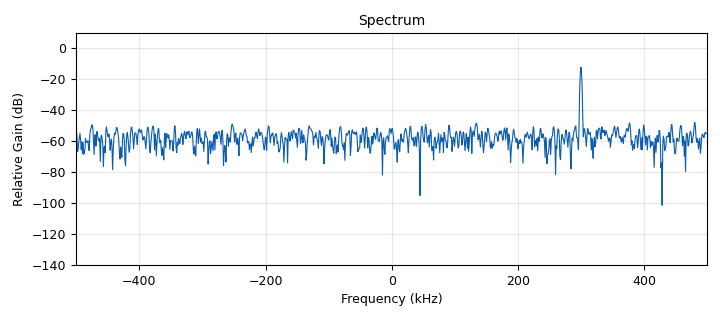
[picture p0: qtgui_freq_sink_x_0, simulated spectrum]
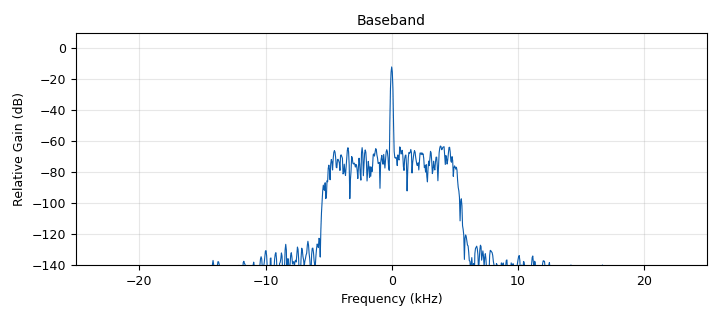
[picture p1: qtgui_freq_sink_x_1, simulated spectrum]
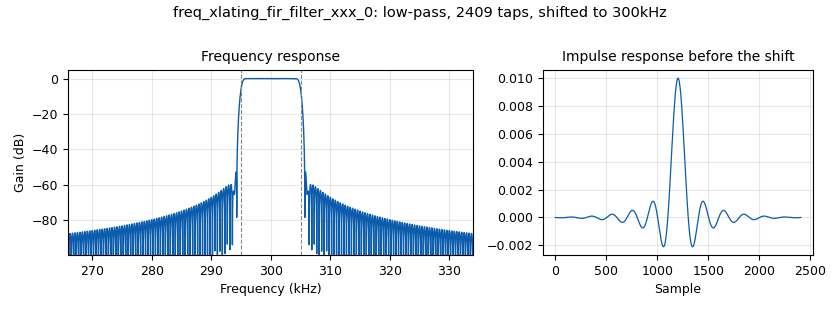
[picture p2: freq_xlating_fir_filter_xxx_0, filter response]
<?xml version='1.0' encoding='utf-8'?>
<?grc format='1' created='3.7.11'?>
<flow_graph>
<block>
<key>options</key>
<param><key>id</key><value>freq_xlate_fir</value></param>
<param><key>author</key><value>Ettus Research</value></param>
<param><key>category</key><value>Custom</value></param>
<param><key>description</key><value>Example usage of Freq Xlating FIR Filter</value></param>
<param><key>generate_options</key><value>qt_gui</value></param>
<param><key>title</key><value>Frequency Xlating FIR Example</value></param>
</block>
<block>
<key>variable</key>
<param><key>id</key><value>bb_rate</value></param>
<param><key>value</key><value>50e3</value></param>
</block>
<block>
<key>variable</key>
<param><key>id</key><value>decimation</value></param>
<param><key>value</key><value>int(samp_rate / bb_rate)</value></param>
</block>
<block>
<key>variable_qtgui_range</key>
<param><key>id</key><value>noise_amp</value></param>
<param><key>value</key><value>.1</value></param>
<param><key>gui_hint</key><value>0, 2, 1, 2</value></param>
<param><key>label</key><value>Noise</value></param>
<param><key>orient</key><value>Qt.Horizontal</value></param>
<param><key>start</key><value>0</value></param>
<param><key>step</key><value>.1</value></param>
<param><key>stop</key><value>1</value></param>
</block>
<block>
<key>variable</key>
<param><key>id</key><value>samp_rate</value></param>
<param><key>value</key><value>1e6</value></param>
</block>
<block>
<key>variable_qtgui_range</key>
<param><key>id</key><value>sine_freq</value></param>
<param><key>value</key><value>300e3</value></param>
<param><key>gui_hint</key><value>0, 0, 1, 2</value></param>
<param><key>label</key><value>Sine Frequency</value></param>
<param><key>orient</key><value>Qt.Horizontal</value></param>
<param><key>start</key><value>0</value></param>
<param><key>step</key><value>1e3</value></param>
<param><key>stop</key><value>1e6</value></param>
</block>
<block>
<key>variable</key>
<param><key>id</key><value>taps</value></param>
<param><key>value</key><value>firdes.low_pass(1.0, samp_rate, xlate_bw/2, 1000)</value></param>
</block>
<block>
<key>variable_qtgui_range</key>
<param><key>id</key><value>xlate_bw</value></param>
<param><key>value</key><value>10e3</value></param>
<param><key>gui_hint</key><value>1, 2, 1, 2</value></param>
<param><key>label</key><value>Xlate Bandwidth</value></param>
<param><key>orient</key><value>Qt.Horizontal</value></param>
<param><key>start</key><value>0</value></param>
<param><key>step</key><value>1</value></param>
<param><key>stop</key><value>50e3</value></param>
</block>
<block>
<key>variable_qtgui_range</key>
<param><key>id</key><value>xlate_freq</value></param>
<param><key>value</key><value>300e3</value></param>
<param><key>gui_hint</key><value>1, 0, 1, 2</value></param>
<param><key>label</key><value>Xlate Frequency</value></param>
<param><key>orient</key><value>Qt.Horizontal</value></param>
<param><key>start</key><value>-samp_rate/2</value></param>
<param><key>step</key><value>1</value></param>
<param><key>stop</key><value>samp_rate/2</value></param>
</block>
<block>
<key>analog_noise_source_x</key>
<param><key>id</key><value>analog_noise_source_x_0</value></param>
<param><key>amp</key><value>noise_amp</value></param>
<param><key>noise_type</key><value>analog.GR_GAUSSIAN</value></param>
<param><key>type</key><value>complex</value></param>
<param><key>seed</key><value>0</value></param>
</block>
<block>
<key>analog_sig_source_x</key>
<param><key>id</key><value>analog_sig_source_x_0</value></param>
<param><key>amp</key><value>.7</value></param>
<param><key>freq</key><value>sine_freq</value></param>
<param><key>offset</key><value>0</value></param>
<param><key>type</key><value>complex</value></param>
<param><key>samp_rate</key><value>samp_rate</value></param>
<param><key>waveform</key><value>analog.GR_COS_WAVE</value></param>
</block>
<block>
<key>blocks_add_xx</key>
<param><key>id</key><value>blocks_add_xx_0</value></param>
<param><key>type</key><value>complex</value></param>
</block>
<block>
<key>blocks_throttle</key>
<param><key>id</key><value>blocks_throttle_0</value></param>
<param><key>samples_per_second</key><value>samp_rate</value></param>
<param><key>type</key><value>complex</value></param>
</block>
<block>
<key>freq_xlating_fir_filter_xxx</key>
<param><key>id</key><value>freq_xlating_fir_filter_xxx_0</value></param>
<param><key>center_freq</key><value>xlate_freq</value></param>
<param><key>decim</key><value>decimation</value></param>
<param><key>samp_rate</key><value>samp_rate</value></param>
<param><key>taps</key><value>taps</value></param>
<param><key>type</key><value>ccc</value></param>
</block>
<block>
<key>qtgui_freq_sink_x</key>
<param><key>id</key><value>qtgui_freq_sink_x_0</value></param>
<param><key>bw</key><value>samp_rate</value></param>
<param><key>fc</key><value>0</value></param>
<param><key>fftsize</key><value>1024</value></param>
<param><key>gui_hint</key><value>2, 0, 1,4</value></param>
<param><key>name</key><value>"Spectrum"</value></param>
<param><key>showports</key><value>True</value></param>
<param><key>type</key><value>complex</value></param>
<param><key>wintype</key><value>firdes.WIN_BLACKMAN_hARRIS</value></param>
</block>
<block>
<key>qtgui_freq_sink_x</key>
<param><key>id</key><value>qtgui_freq_sink_x_1</value></param>
<param><key>bw</key><value>bb_rate</value></param>
<param><key>fc</key><value>0</value></param>
<param><key>fftsize</key><value>1024</value></param>
<param><key>gui_hint</key><value>3, 0, 1, 4</value></param>
<param><key>name</key><value>"Baseband"</value></param>
<param><key>showports</key><value>True</value></param>
<param><key>type</key><value>complex</value></param>
<param><key>wintype</key><value>firdes.WIN_BLACKMAN_hARRIS</value></param>
</block>
<connection><source_block_id>analog_noise_source_x_0</source_block_id><sink_block_id>blocks_add_xx_0</sink_block_id><source_key>0</source_key><sink_key>1</sink_key></connection>
<connection><source_block_id>analog_sig_source_x_0</source_block_id><sink_block_id>blocks_add_xx_0</sink_block_id><source_key>0</source_key><sink_key>0</sink_key></connection>
<connection><source_block_id>blocks_add_xx_0</source_block_id><sink_block_id>blocks_throttle_0</sink_block_id><source_key>0</source_key><sink_key>0</sink_key></connection>
<connection><source_block_id>blocks_throttle_0</source_block_id><sink_block_id>freq_xlating_fir_filter_xxx_0</sink_block_id><source_key>0</source_key><sink_key>0</sink_key></connection>
<connection><source_block_id>blocks_throttle_0</source_block_id><sink_block_id>qtgui_freq_sink_x_0</sink_block_id><source_key>0</source_key><sink_key>0</sink_key></connection>
<connection><source_block_id>freq_xlating_fir_filter_xxx_0</source_block_id><sink_block_id>qtgui_freq_sink_x_1</sink_block_id><source_key>0</source_key><sink_key>0</sink_key></connection>
</flow_graph>
